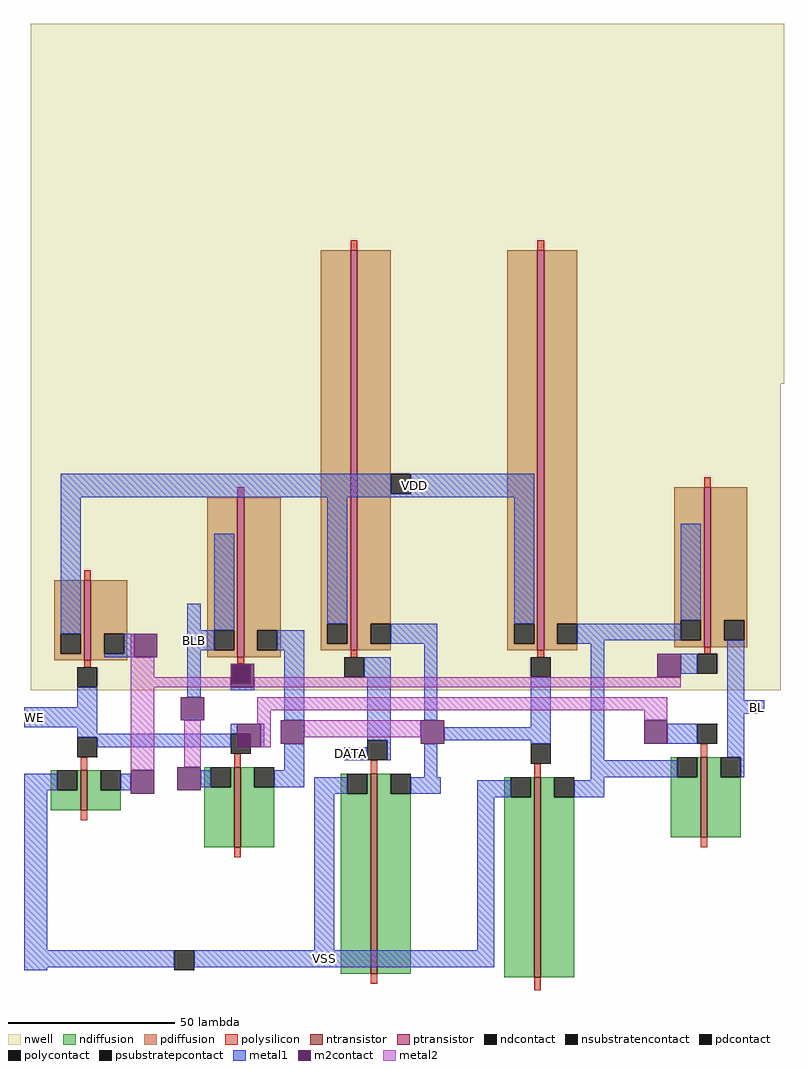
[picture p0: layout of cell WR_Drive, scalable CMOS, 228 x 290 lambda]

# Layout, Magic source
magic
tech scmos
<< nwell >>
rect -50 191 176 299
rect -50 99 175 191
<< ntransistor >>
rect -35 63 -33 75
rect 11 52 13 76
rect 52 14 54 74
rect 101 13 103 73
rect 151 55 153 79
<< ptransistor >>
rect -34 108 -32 132
rect 12 109 14 157
rect 46 111 48 231
rect 102 111 104 231
rect 152 112 154 160
<< ndiffusion >>
rect -44 69 -42 75
rect -36 69 -35 75
rect -44 63 -35 69
rect -33 69 -29 75
rect -33 63 -23 69
rect 2 70 4 76
rect 10 70 11 76
rect 2 52 11 70
rect 13 70 17 76
rect 13 52 23 70
rect 43 68 45 74
rect 51 68 52 74
rect 43 14 52 68
rect 54 68 58 74
rect 142 73 144 79
rect 150 73 151 79
rect 54 14 64 68
rect 92 67 94 73
rect 100 67 101 73
rect 92 13 101 67
rect 103 67 107 73
rect 103 13 113 67
rect 142 55 151 73
rect 153 73 157 79
rect 153 55 163 73
<< pdiffusion >>
rect -43 116 -34 132
rect -43 110 -41 116
rect -35 110 -34 116
rect -43 108 -34 110
rect -32 116 -21 132
rect -32 110 -28 116
rect -22 110 -21 116
rect -32 108 -21 110
rect 3 117 12 157
rect 3 111 5 117
rect 11 111 12 117
rect 3 109 12 111
rect 14 117 25 157
rect 14 111 18 117
rect 24 111 25 117
rect 37 119 46 231
rect 37 113 39 119
rect 45 113 46 119
rect 37 111 46 113
rect 48 119 58 231
rect 48 113 52 119
rect 48 111 58 113
rect 93 119 102 231
rect 93 113 95 119
rect 101 113 102 119
rect 93 111 102 113
rect 104 119 114 231
rect 104 113 108 119
rect 104 111 114 113
rect 143 120 152 160
rect 143 114 145 120
rect 151 114 152 120
rect 143 112 152 114
rect 154 120 165 160
rect 154 114 158 120
rect 164 114 165 120
rect 154 112 165 114
rect 14 109 25 111
<< ndcontact >>
rect -42 69 -36 75
rect -29 69 -23 75
rect 4 70 10 76
rect 17 70 23 76
rect 45 68 51 74
rect 58 68 64 74
rect 144 73 150 79
rect 94 67 100 73
rect 107 67 113 73
rect 157 73 163 79
<< pdcontact >>
rect -41 110 -35 116
rect -28 110 -22 116
rect 5 111 11 117
rect 18 111 24 117
rect 39 113 45 119
rect 52 113 58 119
rect 95 113 101 119
rect 108 113 114 119
rect 145 114 151 120
rect 158 114 164 120
<< psubstratepcontact >>
rect -7 15 -1 21
<< nsubstratencontact >>
rect 58 158 64 164
<< polysilicon >>
rect 46 231 48 234
rect 102 231 104 234
rect 12 157 14 160
rect -34 132 -32 135
rect 152 160 154 163
rect 46 109 48 111
rect 102 109 104 111
rect 152 110 154 112
rect -34 106 -32 108
rect 12 107 14 109
rect -35 75 -33 79
rect 11 76 13 80
rect -35 60 -33 63
rect 52 74 54 78
rect 151 79 153 83
rect 11 49 13 52
rect 101 73 103 77
rect 52 11 54 14
rect 151 52 153 55
rect 101 9 103 13
<< polycontact >>
rect -36 100 -30 106
rect 10 101 16 107
rect 44 103 50 109
rect 100 103 106 109
rect 150 104 156 110
rect -36 79 -30 85
rect 10 80 16 86
rect 51 78 57 84
rect 150 83 156 89
rect 100 77 106 83
<< metal1 >>
rect -41 158 58 164
rect 64 158 101 164
rect -41 157 101 158
rect -41 116 -35 157
rect -3 117 1 125
rect 5 117 11 146
rect 39 119 45 157
rect 95 119 101 157
rect 145 120 151 149
rect -22 110 -19 116
rect -28 109 -19 110
rect -3 111 5 117
rect 24 111 32 117
rect 58 113 72 119
rect 114 114 145 119
rect 114 113 122 114
rect -36 94 -30 100
rect -3 97 1 111
rect 10 99 17 100
rect -52 88 -30 94
rect 26 90 32 111
rect 50 103 58 109
rect -36 86 -30 88
rect 10 86 12 89
rect -36 85 10 86
rect -30 82 10 85
rect 19 82 20 89
rect -52 69 -42 74
rect -23 69 -20 74
rect -52 21 -45 69
rect 1 70 4 75
rect 26 75 32 83
rect 51 84 58 103
rect 68 90 72 113
rect 44 78 51 82
rect 57 78 58 84
rect 100 88 106 103
rect 74 84 106 88
rect 100 83 106 84
rect 23 70 32 75
rect 35 68 45 73
rect 68 73 72 83
rect 118 78 122 113
rect 145 104 150 110
rect 159 96 164 114
rect 159 92 170 96
rect 141 83 150 89
rect 159 79 164 92
rect 118 73 144 78
rect 163 73 164 79
rect 64 68 73 73
rect 35 21 41 68
rect 84 67 94 72
rect 118 72 122 73
rect 113 67 122 72
rect 84 21 89 67
rect -52 16 -7 21
rect -52 15 -45 16
rect -1 16 89 21
<< m2contact >>
rect -19 109 -12 116
rect 10 101 16 107
rect 16 101 17 107
rect 10 100 17 101
rect -5 90 2 97
rect 12 86 19 89
rect 12 82 16 86
rect 16 82 19 86
rect 25 83 32 90
rect -20 68 -13 75
rect -6 69 1 76
rect 67 83 74 90
rect 138 103 145 110
rect 134 83 141 90
<< metal2 >>
rect -20 109 -19 116
rect -20 103 -13 109
rect -20 100 10 103
rect 17 100 145 103
rect -20 75 -13 100
rect 18 93 141 97
rect -4 76 1 90
rect 18 89 22 93
rect 134 90 141 93
rect 19 82 22 89
rect 32 85 67 90
<< labels >>
rlabel metal1 35 16 41 21 0 VSS
port 1 nsew
rlabel metal1 -52 88 -46 94 0 WE
port 2 nsew
rlabel metal1 44 78 48 82 0 DATA
port 3 nsew
rlabel metal1 -3 111 1 117 0 BLB
port 4 nsew
rlabel metal1 166 92 170 96 0 BL
port 5 nsew
rlabel metal1 62 157 68 164 0 VDD
port 6 nsew
<< end >>
